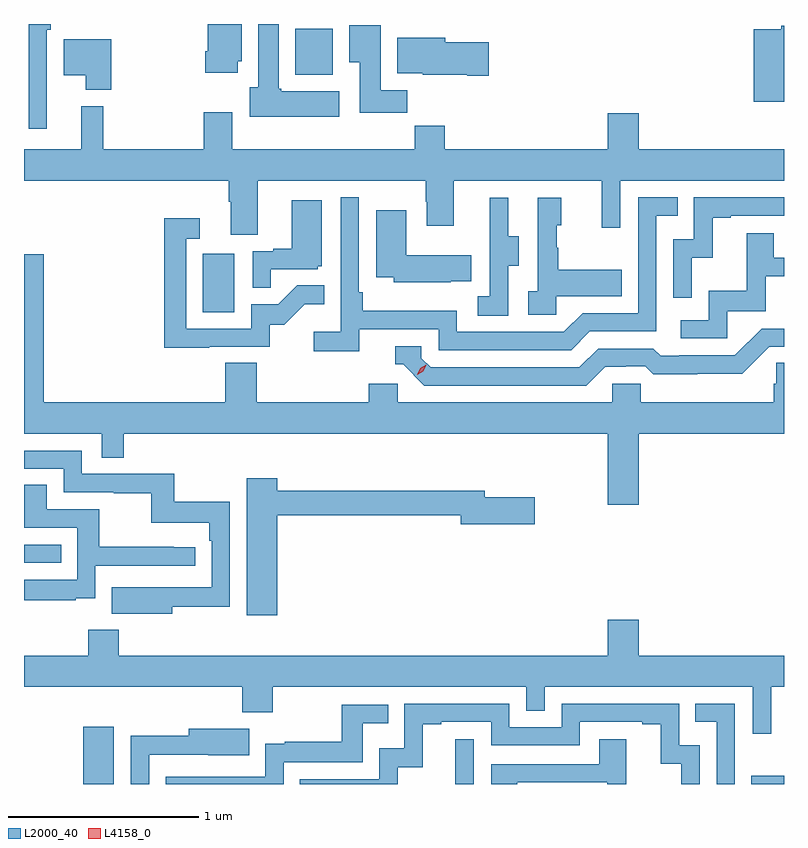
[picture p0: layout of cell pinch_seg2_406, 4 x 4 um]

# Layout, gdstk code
import gdstk
lib = gdstk.Library(unit=1e-6, precision=1e-09)
def R(c, l, rs):  # rectangles x0, y0, x1, y1
    for r in rs: c.add(gdstk.rectangle(r[:2], r[2:], *l))
def P(c, l, *ps):  # polygons
    for p in ps: c.add(gdstk.Polygon(p, *l))
L2000_40 = (2000, 40)
L4158_0 = (4158, 0)

pinch_seg2_406 = lib.new_cell('pinch_seg2_406')
R(pinch_seg2_406, L2000_40, [(1013.396,619.152,1013.557,619.453), (1015.355,619.152,1015.452,619.387), (1016.911,619.152,1017.084,619.195), (1013.084,620.316,1013.279,620.412), (1014.026,621.636,1014.19,621.943), (1014.512,622.886,1014.709,623.128)])
P(pinch_seg2_406, L2000_40, [(1014.742,622.798),(1014.438,622.798),(1014.438,622.812),(1014.424,622.812),(1014.424,623.152),(1014.317,623.152),(1014.317,622.818),(1014.272,622.818),(1014.272,622.664),(1014.742,622.664)],
  [(1014.208,622.956),(1014.229,622.956),(1014.229,623.152),(1014.05,623.152),(1014.05,623.008),(1014.038,623.008),(1014.038,622.896),(1014.208,622.896)],
  [(1013.205,623.123),(1013.225,623.123),(1013.225,623.152),(1013.108,623.152),(1013.108,622.602),(1013.205,622.602)],
  [(1015.1,622.804),(1014.961,622.804),(1014.961,623.146),(1014.797,623.146),(1014.797,622.952),(1014.851,622.952),(1014.851,622.686),(1015.1,622.686)],
  [(1017.084,623.144),(1017.07,623.144),(1017.07,623.124),(1016.924,623.124),(1016.924,622.743),(1017.084,622.743)],
  [(1015.531,623.057),(1015.3,623.057),(1015.3,623.08),(1015.049,623.08),(1015.049,622.892),(1015.182,622.892),(1015.182,622.886),(1015.418,622.886),(1015.418,622.879),(1015.531,622.879)],
  [(1013.543,623.071),(1013.294,623.071),(1013.294,622.883),(1013.408,622.883),(1013.408,622.805),(1013.543,622.805)],
  [(1014.313,622.328),(1015.198,622.328),(1015.198,622.217),(1015.205,622.217),(1015.205,622.089),(1015.345,622.089),(1015.345,622.328),(1016.126,622.328),(1016.126,622.08),(1016.223,622.08),(1016.223,622.328),(1017.084,622.328),(1017.084,622.492),(1016.32,622.492),(1016.32,622.681),(1016.156,622.681),(1016.156,622.492),(1015.298,622.492),(1015.298,622.616),(1015.141,622.616),(1015.141,622.492),(1014.181,622.492),(1014.181,622.687),(1014.029,622.687),(1014.029,622.492),(1013.501,622.492),(1013.501,622.72),(1013.384,622.72),(1013.384,622.492),(1013.084,622.492),(1013.084,622.328),(1014.161,622.328),(1014.161,622.216),(1014.173,622.216),(1014.173,622.042),(1014.313,622.042)],
  [(1014.848,621.546),(1015.266,621.546),(1015.266,621.435),(1015.963,621.435),(1016.062,621.534),(1016.412,621.534),(1016.412,622.143),(1016.525,622.143),(1016.525,622.239),(1016.316,622.239),(1016.316,621.63),(1016.025,621.63),(1015.926,621.531),(1015.362,621.531),(1015.362,621.643),(1014.866,621.643),(1014.866,621.739),(1014.846,621.739),(1014.846,622.24),(1014.75,622.24),(1014.75,621.532),(1014.609,621.532),(1014.609,621.43),(1014.848,621.43)],
  [(1016.598,621.923),(1016.708,621.923),(1016.708,622.131),(1016.803,622.131),(1016.803,622.143),(1017.084,622.143),(1017.084,622.239),(1016.61,622.239),(1016.61,622.02),(1016.502,622.02),(1016.502,621.711),(1016.598,621.711)],
  [(1015.632,621.88),(1015.687,621.88),(1015.687,622.035),(1015.633,622.035),(1015.633,622.237),(1015.535,622.237),(1015.535,622.023),(1015.536,622.023),(1015.536,621.719),(1015.473,621.719),(1015.473,621.616),(1015.632,621.616)],
  [(1015.884,621.719),(1016.231,621.719),(1016.231,621.859),(1015.897,621.859),(1015.897,621.974),(1015.887,621.974),(1015.887,622.092),(1015.912,622.092),(1015.912,622.237),(1015.788,622.237),(1015.788,621.746),(1015.737,621.746),(1015.737,621.621),(1015.884,621.621)],
  [(1014.383,621.861),(1014.63,621.861),(1014.63,621.876),(1014.652,621.876),(1014.652,622.225),(1014.494,622.225),(1014.494,621.97),(1014.395,621.97),(1014.395,621.957),(1014.288,621.957),(1014.288,621.763),(1014.383,621.763)],
  [(1015.331,621.797),(1015.439,621.797),(1015.439,621.934),(1015.096,621.934),(1015.096,622.171),(1014.938,622.171),(1014.938,621.818),(1015.029,621.818),(1015.029,621.794),(1015.331,621.794)],
  [(1014.059,621.453),(1014.378,621.453),(1014.378,621.57),(1014.454,621.57),(1014.561,621.677),(1014.665,621.677),(1014.665,621.776),(1014.521,621.776),(1014.423,621.678),(1014.279,621.678),(1014.279,621.549),(1013.937,621.549),(1013.937,622.023),(1014.01,622.023),(1014.01,622.129),(1013.821,622.129),(1013.821,621.448),(1014.059,621.448)],
  [(1016.784,621.639),(1016.989,621.639),(1016.989,621.825),(1017.084,621.825),(1017.084,621.921),(1017.031,621.921),(1017.031,622.051),(1016.887,622.051),(1016.887,621.748),(1016.688,621.748),(1016.688,621.594),(1016.541,621.594),(1016.541,621.498),(1016.784,621.498)],
  [(1016.32,620.996),(1017.084,620.996),(1017.084,621.368),(1017.043,621.368),(1017.043,621.258),(1017.029,621.258),(1017.029,621.16),(1016.331,621.16),(1016.331,621.258),(1016.181,621.258),(1016.181,621.16),(1015.05,621.16),(1015.05,621.258),(1014.899,621.258),(1014.899,621.16),(1014.308,621.16),(1014.308,621.368),(1014.143,621.368),(1014.143,621.16),(1013.189,621.16),(1013.189,621.939),(1013.084,621.939),(1013.084,620.996),(1013.493,620.996),(1013.493,620.869),(1013.609,620.869),(1013.609,620.996),(1016.156,620.996),(1016.156,620.622),(1016.32,620.622)],
  [(1016.143,621.348),(1016.25,621.348),(1016.25,621.351),(1016.353,621.351),(1016.395,621.309),(1016.628,621.309),(1016.628,621.311),(1016.864,621.311),(1017.006,621.453),(1017.084,621.453),(1017.084,621.549),(1016.967,621.549),(1016.826,621.408),(1016.533,621.408),(1016.533,621.405),(1016.434,621.405),(1016.395,621.444),(1016.106,621.444),(1016.007,621.345),(1015.224,621.345),(1015.176,621.393),(1015.176,621.456),(1015.037,621.456),(1015.037,621.36),(1015.08,621.36),(1015.191,621.249),(1016.044,621.249)],
  [(1013.863,620.086),(1014.168,620.086),(1014.168,620.638),(1013.875,620.638),(1013.875,620.784),(1013.388,620.784),(1013.388,620.907),(1013.084,620.907),(1013.084,620.811),(1013.292,620.811),(1013.292,620.688),(1013.557,620.688),(1013.557,620.683),(1013.754,620.683),(1013.754,620.528),(1014.059,620.528),(1014.059,620.432),(1014.072,620.432),(1014.072,620.187),(1013.759,620.187),(1013.759,620.188),(1013.545,620.188),(1013.545,620.048),(1013.863,620.048)],
  [(1014.418,620.566),(1015.382,620.566),(1015.382,620.519),(1015.771,620.519),(1015.771,620.661),(1015.51,620.661),(1015.51,620.695),(1014.418,620.695),(1014.418,620.761),(1014.257,620.761),(1014.257,620.04),(1014.418,620.04)],
  [(1013.357,620.129),(1013.46,620.129),(1013.46,620.301),(1013.986,620.301),(1013.986,620.397),(1013.873,620.397),(1013.873,620.402),(1013.48,620.402),(1013.48,620.598),(1013.203,620.598),(1013.203,620.726),(1013.084,620.726),(1013.084,620.502),(1013.364,620.502),(1013.364,620.226),(1013.084,620.226),(1013.084,620.118),(1013.357,620.118)],
  [(1017.017,619.664),(1017.084,619.664),(1017.084,619.828),(1016.32,619.828),(1016.32,620.017),(1016.156,620.017),(1016.156,619.828),(1013.582,619.828),(1013.582,619.963),(1013.422,619.963),(1013.422,619.828),(1013.084,619.828),(1013.084,619.664),(1014.233,619.664),(1014.233,619.529),(1014.393,619.529),(1014.393,619.664),(1015.728,619.664),(1015.728,619.537),(1015.824,619.537),(1015.824,619.664),(1016.919,619.664),(1016.919,619.416),(1017.017,619.416)],
  [(1015.05,619.241),(1015.183,619.241),(1015.183,619.467),(1015.279,619.467),(1015.279,619.479),(1015.542,619.479),(1015.542,619.356),(1016.01,619.356),(1016.01,619.479),(1016.339,619.479),(1016.339,619.467),(1016.435,619.467),(1016.435,619.259),(1016.544,619.259),(1016.544,619.152),(1016.64,619.152),(1016.64,619.356),(1016.532,619.356),(1016.532,619.575),(1015.914,619.575),(1015.914,619.452),(1015.638,619.452),(1015.638,619.575),(1015.086,619.575),(1015.086,619.339),(1014.954,619.339),(1014.954,619.176),(1014.535,619.176),(1014.535,619.152),(1015.05,619.152)],
  [(1016.826,619.575),(1016.617,619.575),(1016.617,619.479),(1016.73,619.479),(1016.73,619.152),(1016.826,619.152)],
  [(1014.45,619.266),(1014.867,619.266),(1014.867,619.472),(1015.001,619.472),(1015.001,619.569),(1014.756,619.569),(1014.756,619.375),(1014.457,619.375),(1014.457,619.363),(1014.354,619.363),(1014.354,619.191),(1013.829,619.191),(1013.829,619.152),(1014.45,619.152)],
  [(1013.742,619.305),(1014.055,619.305),(1014.055,619.304),(1014.269,619.304),(1014.269,619.444),(1013.951,619.444),(1013.951,619.406),(1013.646,619.406),(1013.646,619.152),(1013.742,619.152)],
  [(1015.679,619.161),(1016.153,619.161),(1016.153,619.152),(1016.255,619.152),(1016.255,619.387),(1016.111,619.387),(1016.111,619.257),(1015.542,619.257),(1015.542,619.152),(1015.679,619.152)])
P(pinch_seg2_406, L4158_0, [(1015.153,621.306),(1015.153,621.307),(1015.17,621.339),(1015.201,621.358),(1015.201,621.358),(1015.201,621.358),(1015.185,621.325),(1015.154,621.306)])

lib.write_gds('pinch_seg2_406.gds')
